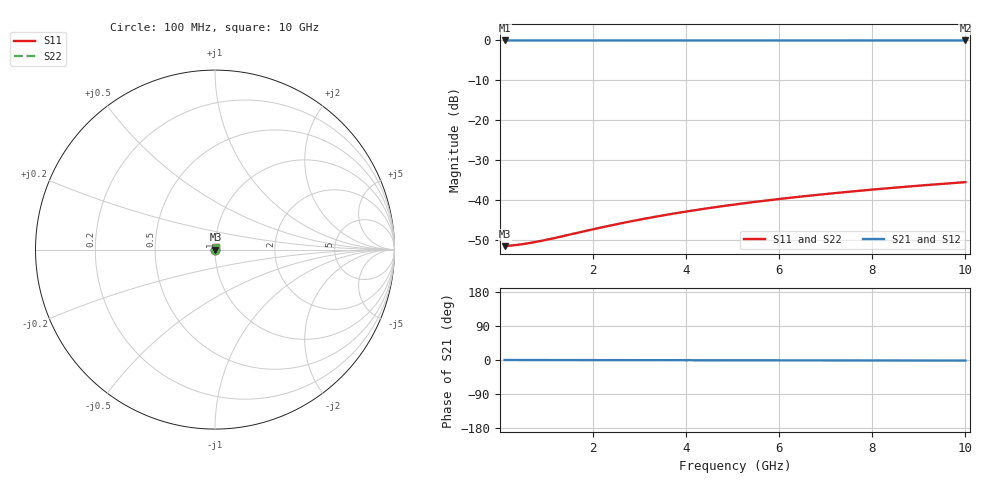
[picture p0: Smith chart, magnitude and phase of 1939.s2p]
# Hz S RI R 50.00
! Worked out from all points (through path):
!   100 points, 100 MHz to 10 GHz, reference 50 ohm
!   highest |S21| = -0.02 dB at 100 MHz (marker M1); lowest = 0.0 dB at 10 GHz (marker M2)
!   lowest |S11| = -51.6 dB at 100 MHz (marker M3), VSWR 1.01, Z = 50.3 + j0.0165 ohm
!   |S11| at or under -10 dB: start of sweep to end of sweep
!   |S22| runs from -51.6 to -35.5 dB; largest |S21 - S12| = 0
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1e8  0.00263 0.000164  0.9974 -0.000263  0.9974 -0.000263  0.00263 0.000164
3e8  0.00266 0.000491  0.9973 -0.000788  0.9973 -0.000788  0.00266 0.000491
4e8  0.00267 0.000655  0.9973 -0.00105  0.9973 -0.00105  0.00267 0.000655
6e8  0.00268 0.000982  0.9973 -0.00158  0.9973 -0.00158  0.00268 0.000982
8e8  0.0027 0.00131  0.9973 -0.0021  0.9973 -0.0021  0.0027 0.00131
1.2e9  0.00272 0.00196  0.9973 -0.00315  0.9973 -0.00315  0.00272 0.00196
1.8e9  0.00275 0.00295  0.9972 -0.00473  0.9972 -0.00473  0.00275 0.00295
2.2e9  0.00277 0.0036  0.9972 -0.00578  0.9972 -0.00578  0.00277 0.0036
2.6e9  0.00279 0.00426  0.9972 -0.00683  0.9972 -0.00683  0.00279 0.00426
3e9  0.00281 0.00491  0.9972 -0.00788  0.9972 -0.00788  0.00281 0.00491
3.4e9  0.00283 0.00557  0.9972 -0.00893  0.9972 -0.00893  0.00283 0.00557
3.8e9  0.00285 0.00622  0.9971 -0.00998  0.9971 -0.00998  0.00285 0.00622
4.2e9  0.00287 0.00687  0.9971 -0.011  0.9971 -0.011  0.00287 0.00687
4.6e9  0.00289 0.00753  0.9971 -0.0121  0.9971 -0.0121  0.00289 0.00753
5.1e9  0.00292 0.00835  0.9971 -0.0134  0.9971 -0.0134  0.00292 0.00835
5.5e9  0.00295 0.009  0.997 -0.0144  0.997 -0.0144  0.00295 0.009
5.9e9  0.00298 0.00966  0.997 -0.0155  0.997 -0.0155  0.00298 0.00966
6.7e9  0.00303 0.011  0.9969 -0.0176  0.9969 -0.0176  0.00303 0.011
7.5e9  0.00309 0.0123  0.9969 -0.0197  0.9969 -0.0197  0.00309 0.0123
8.4e9  0.00317 0.0137  0.9968 -0.0221  0.9968 -0.0221  0.00317 0.0137
9.2e9  0.00324 0.0151  0.9967 -0.0242  0.9967 -0.0242  0.00324 0.0151
1e10  0.00332 0.0164  0.9966 -0.0263  0.9966 -0.0263  0.00332 0.0164
